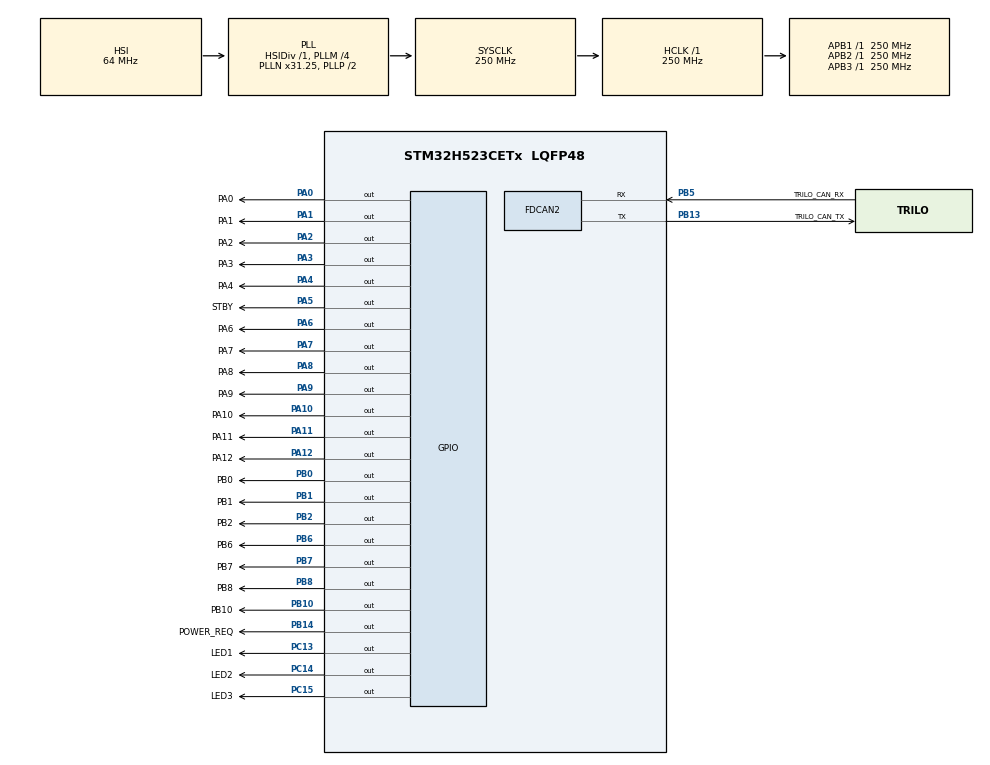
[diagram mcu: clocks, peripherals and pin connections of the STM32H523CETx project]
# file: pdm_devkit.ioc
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BOOTPATH.BootPathName=LEGACY
BOOTPATH.UserSelectedBootPath=LEGACY
CORTEX_M33_NS.Number-Cortex_Memory_Protection_Unit_Region0_OTP_RO_AREAS_Settings=MPU_REGION_NUMBER0
CORTEX_M33_NS.default_mode_Activation=1
CORTEX_M33_NS.userName=CORTEX_M33
FDCAN2.AutoRetransmission=ENABLE
FDCAN2.CalculateBaudRateNominal=250000
FDCAN2.CalculateTimeBitNominal=4000
FDCAN2.CalculateTimeQuantumNominal=25.0
FDCAN2.DataSyncJumpWidth=5
FDCAN2.DataTimeSeg1=29
FDCAN2.DataTimeSeg2=10
FDCAN2.ExtFiltersNbr=4
FDCAN2.FrameFormat=FDCAN_FRAME_FD_BRS
FDCAN2.NominalPrescaler=1
FDCAN2.NominalSyncJumpWidth=10
FDCAN2.NominalTimeSeg1=139
FDCAN2.NominalTimeSeg2=20
FDCAN2.TransmitPause=DISABLE
Mcu.Family=STM32H5
Mcu.Name=STM32H523CETx
Mcu.Package=LQFP48
NVIC.FDCAN2_IT0_IRQn=true\:0\:0\:false\:false\:true\:true\:true\:true
NVIC.PriorityGroup=NVIC_PRIORITYGROUP_4
PA0.GPIO_Label=PA0
PA0.Signal=GPIO_Output
PA1.GPIO_Label=PA1
PA1.Signal=GPIO_Output
PA10.GPIO_Label=PA10
PA10.Signal=GPIO_Output
PA11.GPIO_Label=PA11
PA11.Signal=GPIO_Output
PA12.GPIO_Label=PA12
PA12.Signal=GPIO_Output
PA13(JTMS/SWDIO).Mode=Trace_Asynchronous_SW
PA13(JTMS/SWDIO).Signal=DEBUG_JTMS-SWDIO
PA14(JTCK/SWCLK).Mode=Trace_Asynchronous_SW
PA14(JTCK/SWCLK).Signal=DEBUG_JTCK-SWCLK
PA2.GPIO_Label=PA2
PA2.Signal=GPIO_Output
PA3.GPIO_Label=PA3
PA3.Signal=GPIO_Output
PA4.GPIO_Label=PA4
PA4.Signal=GPIO_Output
PA5.GPIO_Label=STBY
PA5.Signal=GPIO_Output
PA6.GPIO_Label=PA6
PA6.Signal=GPIO_Output
PA7.GPIO_Label=PA7
PA7.Signal=GPIO_Output
PA8.GPIO_Label=PA8
PA8.Signal=GPIO_Output
PA9.GPIO_Label=PA9
PA9.Signal=GPIO_Output
PB0.GPIO_Label=PB0
PB0.Signal=GPIO_Output
PB1.GPIO_Label=PB1
PB1.Signal=GPIO_Output
PB10.GPIO_Label=PB10
PB10.Signal=GPIO_Output
PB13.GPIO_Label=TRILO_CAN_TX
PB13.Mode=FDCAN_Activate
PB13.Signal=FDCAN2_TX
PB14.GPIO_Label=POWER_REQ
PB14.GPIO_ModeDefaultOutputPP=GPIO_MODE_OUTPUT_PP
PB14.GPIO_PuPd=GPIO_PULLUP
PB14.PinState=GPIO_PIN_SET
PB14.Signal=GPIO_Output
PB2.GPIO_Label=PB2
PB2.Signal=GPIO_Output
PB3(JTDO/TRACESWO).Mode=Trace_Asynchronous_SW
PB3(JTDO/TRACESWO).Signal=DEBUG_JTDO-SWO
PB5.GPIO_Label=TRILO_CAN_RX
PB5.Mode=FDCAN_Activate
PB5.Signal=FDCAN2_RX
PB6.GPIO_Label=PB6
PB6.Signal=GPIO_Output
PB7.GPIO_Label=PB7
PB7.Signal=GPIO_Output
PB8.GPIO_Label=PB8
PB8.Signal=GPIO_Output
PC13.GPIO_Label=LED1
PC13.Signal=GPIO_Output
PC14-OSC32_IN(OSC32_IN).GPIO_Label=LED2
PC14-OSC32_IN(OSC32_IN).Signal=GPIO_Output
PC15-OSC32_OUT(OSC32_OUT).GPIO_Label=LED3
PC15-OSC32_OUT(OSC32_OUT).Signal=GPIO_Output
PH0-OSC_IN(PH0).Mode=HSE-External-Oscillator
PH0-OSC_IN(PH0).Signal=RCC_OSC_IN
PH1-OSC_OUT(PH1).Mode=HSE-External-Oscillator
PH1-OSC_OUT(PH1).Signal=RCC_OSC_OUT
ProjectManager.HeapSize=0x200
ProjectManager.StackSize=0x400
ProjectManager.TargetToolchain=CMake
RCC.ADCFreq_Value=250000000
RCC.AHBFreq_Value=250000000
RCC.APB1Freq_Value=250000000
RCC.APB1TimFreq_Value=250000000
RCC.APB2Freq_Value=250000000
RCC.APB2TimFreq_Value=250000000
RCC.APB3Freq_Value=250000000
RCC.CSI_VALUE=4000000
RCC.CortexFreq_Value=250000000
RCC.EPOD_VALUE=64000000
RCC.FDCANClockSelection=RCC_FDCANCLKSOURCE_PLL2Q
RCC.HCLKFreq_Value=250000000
RCC.HSE_VALUE=24000000
RCC.HSI48_VALUE=48000000
RCC.HSIDiv=RCC_HSI_DIV1
RCC.HSI_VALUE=64000000
RCC.LSE_VALUE=32768
RCC.LSIRC_VALUE=32000
RCC.PLL2FRACN=0
RCC.PLL2M=4
RCC.PLL2N=10
RCC.PLL2Q=4
RCC.PLL2Source=RCC_PLL2_SOURCE_HSI
RCC.PLL3Source=RCC_PLL3_SOURCE_HSE
RCC.PLLFRACN=2048
RCC.PLLM=4
RCC.PLLN=31
RCC.PLLSourceVirtual=RCC_PLL1_SOURCE_HSI
RCC.SYSCLKFreq_VALUE=250000000
RCC.SYSCLKSource=RCC_SYSCLKSOURCE_PLLCLK
RCC.USBFreq_Value=48000000
RCC.VCOOutputFreq_Value=500000000
VP_BOOTPATH_VS_BOOTPATH.Mode=BP_Activate
VP_CORTEX_M33_NS_VS_Hclk.Mode=Hclk_Mode
VP_ICACHE_VS_ICACHE.Mode=DirectMappedCache
VP_MEMORYMAP_VS_MEMORYMAP.Mode=CurAppReg
VP_PWR_VS_LPOM.Mode=PowerOptimisation
VP_PWR_VS_SECSignals.Mode=Security/Privilege
board=custom

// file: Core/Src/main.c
/* USER CODE BEGIN Header */
/**
 ******************************************************************************
 * @file           : main.c
 * @brief          : Main program body
 ******************************************************************************
 * @attention
 *
 * Copyright (c) 2026 STMicroelectronics.
 * All rights reserved.
 *
 * This software is licensed under terms that can be found in the LICENSE file
 * in the root directory of this software component.
 * If no LICENSE file comes with this software, it is provided AS-IS.
 *
 ******************************************************************************
 */
/* USER CODE END Header */
#include "main.h"
#include "fdcan.h"
#include "gpio.h"
#include "icache.h"

/* USER CODE BEGIN Includes */
#include "protocol.h"
/* USER CODE END Includes */

/* USER CODE BEGIN PTD */
// incoming_data[0] selects the public API port the command targets.
typedef enum {
    PORT_A = 0,
    PORT_B = 1,
    PORT_LEDS = 2,
} GpioPort;

// LED ids are zero-indexed to match the public API (incoming_data[1] == 0 -> LED1).
typedef enum {
    LED1 = 0,
    LED2 = 1,
    LED3 = 2,
} UserLeds;

/* Mode encoding used on the wire. */
typedef enum { PIN_MODE_INPUT = 0, PIN_MODE_OUTPUT = 1 } GpioMode;

/* USER CODE END PTD */

/* USER CODE BEGIN PV */
// Only these GPIO pins are exposed for user control. Reserved pins are excluded
// here so the same validation is used for both pin writes and mode changes.
static const uint16_t user_pin_masks[] = {
    [PORT_A] = GPIO_PIN_0 | GPIO_PIN_1 | GPIO_PIN_2 | GPIO_PIN_3 | GPIO_PIN_4 | GPIO_PIN_6 |
               GPIO_PIN_7 | GPIO_PIN_8 | GPIO_PIN_9 | GPIO_PIN_10 | GPIO_PIN_11 | GPIO_PIN_12,
    [PORT_B] = GPIO_PIN_0 | GPIO_PIN_1 | GPIO_PIN_2 | GPIO_PIN_6 | GPIO_PIN_7 | GPIO_PIN_8 |
               GPIO_PIN_10 | GPIO_PIN_12,
};

uint8_t incoming_data[64];
bool processed_incoming_data = true;
/* USER CODE END PV */

void SystemClock_Config(void);
static void MPU_Config(void);
/* USER CODE BEGIN PFP */
static void setGpio(UserLeds pin, GPIO_PinState state);
static bool resolveUserPin(uint8_t port, uint8_t pin, GPIO_TypeDef** gpio_port, uint16_t* gpio_pin);
static void applyPinCommand(uint8_t port, uint8_t pin, uint8_t state_byte);
/* USER CODE END PFP */

int main(void) {

    /* MCU Configuration--------------------------------------------------------*/

    /* MPU Configuration--------------------------------------------------------*/
    MPU_Config();

    /* Reset of all peripherals, Initializes the Flash interface and the Systick. */
    HAL_Init();

    /* Configure the system clock */
    SystemClock_Config();

    /* Initialize all configured peripherals */
    MX_GPIO_Init();
    MX_FDCAN2_Init();
    MX_ICACHE_Init();
    /* USER CODE BEGIN 2 */
    CanCommsInit();
    setGpio(LED1, GPIO_PIN_RESET);
    setGpio(LED2, GPIO_PIN_SET);
    setGpio(LED3, GPIO_PIN_RESET);
    /* USER CODE END 2 */

    /* Infinite loop */
    while (1) {

        /* USER CODE BEGIN 3 */

        if (receivedCanMessage) {
            handleCanMessage();
        }

        if (!processed_incoming_data) {
            // incoming_data[0] = port (0=GPIOA, 1=GPIOB, 2=LEDs)
            // incoming_data[1] = pin within the port (LED pins are 0-based)
            // incoming_data[2] = state (0 = LOW, non-zero = HIGH)
            applyPinCommand(incoming_data[0], incoming_data[1], incoming_data[2]);
            processed_incoming_data = true;
        }

        // Sleep until the next interrupt (CAN RX or SysTick) instead of busy-waiting
    }
    /* USER CODE END 3 */
}

void SystemClock_Config(void) {
    RCC_OscInitTypeDef RCC_OscInitStruct = {0};
    RCC_ClkInitTypeDef RCC_ClkInitStruct = {0};

    /** Configure the main internal regulator output voltage
     */
    __HAL_PWR_VOLTAGESCALING_CONFIG(PWR_REGULATOR_VOLTAGE_SCALE0);

    while (!__HAL_PWR_GET_FLAG(PWR_FLAG_VOSRDY)) {
    }

    /** Initializes the RCC Oscillators according to the specified parameters
     * in the RCC_OscInitTypeDef structure.
     */
    RCC_OscInitStruct.OscillatorType = RCC_OSCILLATORTYPE_HSI;
    RCC_OscInitStruct.HSIState = RCC_HSI_ON;
    RCC_OscInitStruct.HSIDiv = RCC_HSI_DIV1;
    RCC_OscInitStruct.HSICalibrationValue = RCC_HSICALIBRATION_DEFAULT;
    RCC_OscInitStruct.PLL.PLLState = RCC_PLL_ON;
    RCC_OscInitStruct.PLL.PLLSource = RCC_PLL1_SOURCE_HSI;
    RCC_OscInitStruct.PLL.PLLM = 4;
    RCC_OscInitStruct.PLL.PLLN = 31;
    RCC_OscInitStruct.PLL.PLLP = 2;
    RCC_OscInitStruct.PLL.PLLQ = 2;
    RCC_OscInitStruct.PLL.PLLR = 2;
    RCC_OscInitStruct.PLL.PLLRGE = RCC_PLL1_VCIRANGE_3;
    RCC_OscInitStruct.PLL.PLLVCOSEL = RCC_PLL1_VCORANGE_WIDE;
    RCC_OscInitStruct.PLL.PLLFRACN = 2048;
    if (HAL_RCC_OscConfig(&RCC_OscInitStruct) != HAL_OK) {
        Error_Handler();
    }

    /** Initializes the CPU, AHB and APB buses clocks
     */
    RCC_ClkInitStruct.ClockType = RCC_CLOCKTYPE_HCLK | RCC_CLOCKTYPE_SYSCLK | RCC_CLOCKTYPE_PCLK1 |
                                  RCC_CLOCKTYPE_PCLK2 | RCC_CLOCKTYPE_PCLK3;
    RCC_ClkInitStruct.SYSCLKSource = RCC_SYSCLKSOURCE_PLLCLK;
    RCC_ClkInitStruct.AHBCLKDivider = RCC_SYSCLK_DIV1;
    RCC_ClkInitStruct.APB1CLKDivider = RCC_HCLK_DIV1;
    RCC_ClkInitStruct.APB2CLKDivider = RCC_HCLK_DIV1;
    RCC_ClkInitStruct.APB3CLKDivider = RCC_HCLK_DIV1;

    if (HAL_RCC_ClockConfig(&RCC_ClkInitStruct, FLASH_LATENCY_5) != HAL_OK) {
        Error_Handler();
    }

    /** Configure the programming delay
     */
    __HAL_FLASH_SET_PROGRAM_DELAY(FLASH_PROGRAMMING_DELAY_2);
}

/* USER CODE BEGIN 4 */

static void setGpio(UserLeds pin, GPIO_PinState state) {
    switch (pin) {
    case LED1:
        HAL_GPIO_WritePin(LED1_GPIO_Port, LED1_Pin, state);
        break;
    case LED2:
        HAL_GPIO_WritePin(LED2_GPIO_Port, LED2_Pin, state);
        break;
    case LED3:
        HAL_GPIO_WritePin(LED3_GPIO_Port, LED3_Pin, state);
        break;
    default:
        // Handle invalid pin if necessary
        break;
    }
}

bool readGpio(uint8_t port, uint8_t pin, uint8_t* state) {
    if (state == NULL) {
        return false;
    }

    GPIO_TypeDef* gpio_port;
    uint16_t gpio_pin;
    if (!resolveUserPin(port, pin, &gpio_port, &gpio_pin)) {
        return false;
    }

    *state = (HAL_GPIO_ReadPin(gpio_port, gpio_pin) == GPIO_PIN_SET) ? 1U : 0U;
    return true;
}

static bool resolveUserPin(uint8_t port, uint8_t pin, GPIO_TypeDef** gpio_port,
                           uint16_t* gpio_pin) {
    if (gpio_port == NULL || gpio_pin == NULL || port > PORT_B || pin >= 16U) {
        return false;
    }

    uint16_t candidate = (uint16_t)(1U << pin);
    if ((user_pin_masks[port] & candidate) == 0U) {
        return false;
    }

    *gpio_port = (port == PORT_A) ? GPIOA : GPIOB;
    *gpio_pin = candidate;
    return true;
}

bool setGpioMode(uint8_t port, uint8_t pin, uint8_t mode) {
    if (mode != PIN_MODE_INPUT && mode != PIN_MODE_OUTPUT) {
        return false;
    }

    GPIO_TypeDef* gpio_port;
    uint16_t gpio_pin;
    if (!resolveUserPin(port, pin, &gpio_port, &gpio_pin)) {
        return false;
    }

    GPIO_InitTypeDef GPIO_InitStruct = {0};
    GPIO_InitStruct.Pin = gpio_pin;
    GPIO_InitStruct.Mode = (mode == PIN_MODE_OUTPUT) ? GPIO_MODE_OUTPUT_PP : GPIO_MODE_INPUT;
    GPIO_InitStruct.Pull = GPIO_NOPULL;
    GPIO_InitStruct.Speed = GPIO_SPEED_FREQ_LOW;
    HAL_GPIO_Init(gpio_port, &GPIO_InitStruct);
    return true;
}
// Apply a single pin command decoded from an incoming CAN message.
//   port       -> GpioPort (0 = GPIOA, 1 = GPIOB, 2 = LEDs)
//   pin        -> pin number within the port (LEDs are 0-indexed)
//   state_byte -> 0 drives the pin LOW, any other value drives it HIGH
// GPIO pins not present in user_pin_masks are silently ignored so a bad request
// cannot disturb reserved pins (CAN standby, SWD, etc.).
static void applyPinCommand(uint8_t port, uint8_t pin, uint8_t state_byte) {
    GPIO_PinState gpioState = state_byte ? GPIO_PIN_SET : GPIO_PIN_RESET;

    switch (port) {
    case PORT_LEDS:
        switch ((UserLeds)pin) {
        case LED1:
        case LED2:
        case LED3:
            setGpio((UserLeds)pin, gpioState);
            break;
        default:
            break; // Unlisted LED: ignore
        }
        break;

    case PORT_A:
    case PORT_B: {
        GPIO_TypeDef* gpio_port;
        uint16_t gpio_pin;

        if (resolveUserPin(port, pin, &gpio_port, &gpio_pin)) {
            HAL_GPIO_WritePin(gpio_port, gpio_pin, gpioState);
        }
        break;
    }

    default:
        break; // Unknown port: ignore
    }
}

/* USER CODE END 4 */

/* MPU Configuration */

void MPU_Config(void) {
    MPU_Region_InitTypeDef MPU_InitStruct = {0};
    MPU_Attributes_InitTypeDef MPU_AttributesInit = {0};

    /* Disables the MPU */
    HAL_MPU_Disable();

    /** Initializes and configures the Region 0 and the memory to be protected
     */
    MPU_InitStruct.Enable = MPU_REGION_ENABLE;
    MPU_InitStruct.Number = MPU_REGION_NUMBER0;
    MPU_InitStruct.BaseAddress = 0x08FFF000;
    MPU_InitStruct.LimitAddress = 0x08FFFFFF;
    MPU_InitStruct.AttributesIndex = MPU_ATTRIBUTES_NUMBER0;
    MPU_InitStruct.AccessPermission = MPU_REGION_ALL_RO;
    MPU_InitStruct.DisableExec = MPU_INSTRUCTION_ACCESS_DISABLE;
    MPU_InitStruct.IsShareable = MPU_ACCESS_NOT_SHAREABLE;

    HAL_MPU_ConfigRegion(&MPU_InitStruct);

    /** Initializes and configures the Attribute 0 and the memory to be protected
     */
    MPU_AttributesInit.Number = MPU_ATTRIBUTES_NUMBER0;
    MPU_AttributesInit.Attributes = INNER_OUTER(MPU_NOT_CACHEABLE);

    HAL_MPU_ConfigMemoryAttributes(&MPU_AttributesInit);
    /* Enables the MPU */
    HAL_MPU_Enable(MPU_PRIVILEGED_DEFAULT);
}

void Error_Handler(void) {
    __disable_irq();
    while (1) {
    }
}
